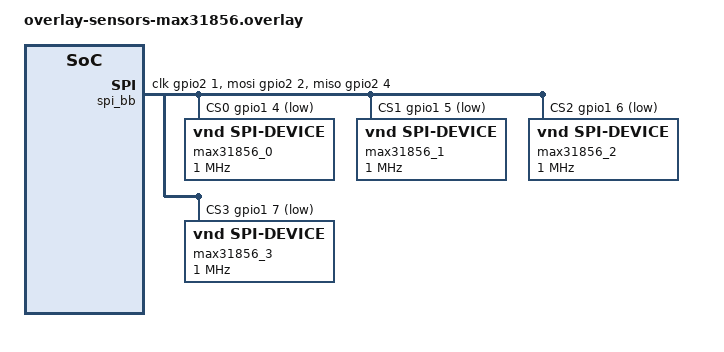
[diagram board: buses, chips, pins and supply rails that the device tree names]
/* Sensor overlay: MAX31856 SPI thermocouple via bitbang
 *   P2.01 = SCK  (D8)
 *   P2.02 = MOSI (D10)
 *   P2.04 = MISO (D9)
 *   P1.04 = CS1  (D0)  — sensor 1
 *   P1.05 = CS2  (D1)  — sensor 2
 *   P1.06 = CS3  (D2)  — sensor 3
 *   P1.07 = CS4  (D3)  — sensor 4
 *
 * Aantal actieve sensoren via CONFIG_APP_MAX31856_COUNT in node conf.
 */

&spi00 {
    status = "disabled";
};

&sht4x0   { status = "disabled"; };
&scd41_0  { status = "disabled"; };
&bmp388_0 { status = "disabled"; };

/ {
    spi_bb: spi_bitbang {
        compatible = "zephyr,spi-bitbang";
        status = "okay";
        #address-cells = <1>;
        #size-cells = <0>;
        clk-gpios  = <&gpio2 1 GPIO_ACTIVE_HIGH>;
        mosi-gpios = <&gpio2 2 GPIO_ACTIVE_HIGH>;
        miso-gpios = <&gpio2 4 GPIO_ACTIVE_HIGH>;
        cs-gpios   = <&gpio1 4 GPIO_ACTIVE_LOW>,
                     <&gpio1 5 GPIO_ACTIVE_LOW>,
                     <&gpio1 6 GPIO_ACTIVE_LOW>,
                     <&gpio1 7 GPIO_ACTIVE_LOW>;

        max31856_0: max31856@0 {
            compatible = "vnd,spi-device";
            reg = <0>;
            spi-max-frequency = <1000000>;
        };

        max31856_1: max31856@1 {
            compatible = "vnd,spi-device";
            reg = <1>;
            spi-max-frequency = <1000000>;
        };

        max31856_2: max31856@2 {
            compatible = "vnd,spi-device";
            reg = <2>;
            spi-max-frequency = <1000000>;
        };

        max31856_3: max31856@3 {
            compatible = "vnd,spi-device";
            reg = <3>;
            spi-max-frequency = <1000000>;
        };
    };

    aliases {
        max31856-0 = &max31856_0;
        max31856-1 = &max31856_1;
        max31856-2 = &max31856_2;
        max31856-3 = &max31856_3;
    };
};
